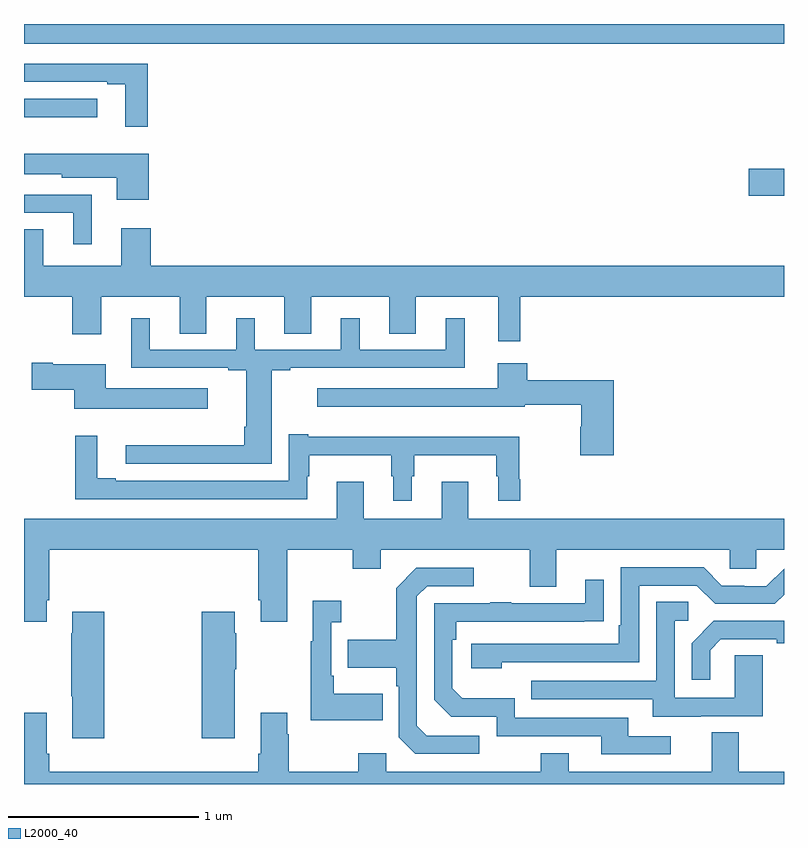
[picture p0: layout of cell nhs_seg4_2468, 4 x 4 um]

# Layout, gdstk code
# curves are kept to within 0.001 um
import gdstk
lib = gdstk.Library(unit=1e-6, precision=1e-09)
def R(c, l, rs):  # rectangles x0, y0, x1, y1
    for r in rs: c.add(gdstk.rectangle(r[:2], r[2:], *l))
def P(c, l, *ps):  # polygons
    for p in ps: c.add(gdstk.Polygon(p, *l))
L2000_40 = (2000, 40)

nhs_seg4_2468 = lib.new_cell('nhs_seg4_2468')
R(nhs_seg4_2468, L2000_40, [(242.814,819.997,243,820.139), (239,820.409,239.386,820.506), (239,820.796,243,820.9)])
P(nhs_seg4_2468, L2000_40, [(239.651,820.692),(239,820.692),(239,820.596),(239.438,820.596),(239.438,820.584),(239.534,820.584),(239.534,820.359),(239.651,820.359)],
  [(239.656,820.216),(239,820.216),(239,820.109),(239.199,820.109),(239.199,820.091),(239.489,820.091),(239.489,819.975),(239.656,819.975)],
  [(239.356,820.002),(239,820.002),(239,819.906),(239.258,819.906),(239.258,819.741),(239.356,819.741)],
  [(239.666,819.826),(239.513,819.826),(239.513,819.628),(239.101,819.628),(239.101,819.821),(239,819.821),(239,819.464),(239.255,819.464),(239.255,819.267),(239.407,819.267),(239.407,819.464),(239.819,819.464),(239.819,819.271),(239.959,819.271),(239.959,819.464),(240.371,819.464),(240.371,819.271),(240.511,819.271),(240.511,819.464),(240.923,819.464),(240.923,819.271),(241.063,819.271),(241.063,819.464),(241.496,819.464),(241.496,819.231),(241.613,819.231),(241.613,819.464),(243,819.464),(243,819.628),(239.666,819.628)],
  [(240.304,819.078),(240.4,819.078),(240.4,819.09),(241.319,819.09),(241.319,819.352),(241.22,819.352),(241.22,819.186),(240.766,819.186),(240.766,819.352),(240.668,819.352),(240.668,819.186),(240.214,819.186),(240.214,819.352),(240.116,819.352),(240.116,819.186),(239.662,819.186),(239.662,819.352),(239.564,819.352),(239.564,819.09),(240.074,819.09),(240.074,819.078),(240.17,819.078),(240.17,818.779),(240.158,818.779),(240.158,818.684),(239.535,818.684),(239.535,818.586),(240.304,818.586)],
  [(239.968,818.983),(239.431,818.983),(239.431,819.109),(239.152,819.109),(239.152,819.117),(239.04,819.117),(239.04,818.975),(239.264,818.975),(239.264,818.876),(239.968,818.876)],
  [(242.105,819.025),(241.649,819.025),(241.649,819.115),(241.493,819.115),(241.493,818.982),(240.543,818.982),(240.543,818.885),(241.636,818.885),(241.636,818.896),(241.934,818.896),(241.934,818.781),(241.927,818.781),(241.927,818.631),(242.105,818.631)],
  [(241.042,818.519),(241.054,818.519),(241.054,818.63),(241.485,818.63),(241.485,818.519),(241.496,818.519),(241.496,818.391),(241.613,818.391),(241.613,818.503),(241.606,818.503),(241.606,818.728),(240.496,818.728),(240.496,818.74),(240.393,818.74),(240.393,818.496),(239.482,818.496),(239.482,818.509),(239.386,818.509),(239.386,818.734),(239.269,818.734),(239.269,818.4),(240.49,818.4),(240.49,818.519),(240.502,818.519),(240.502,818.63),(240.933,818.63),(240.933,818.519),(240.944,818.519),(240.944,818.391),(241.042,818.391)],
  [(239.119,817.867),(239.132,817.867),(239.132,818.132),(240.233,818.132),(240.233,817.867),(240.245,817.867),(240.245,817.755),(240.385,817.755),(240.385,818.132),(240.73,818.132),(240.73,818.033),(240.877,818.033),(240.877,818.132),(241.661,818.132),(241.661,817.938),(241.801,817.938),(241.801,818.132),(242.715,818.132),(242.715,818.034),(242.853,818.034),(242.853,818.132),(243,818.132),(243,818.296),(241.339,818.296),(241.339,818.491),(241.199,818.491),(241.199,818.296),(240.787,818.296),(240.787,818.491),(240.647,818.491),(240.647,818.296),(239,818.296),(239,817.755),(239.119,817.755)],
  [(241.514,817.542),(242.238,817.542),(242.238,817.944),(242.541,817.944),(242.637,817.848),(242.952,817.848),(243,817.896),(243,818.034),(242.907,817.941),(242.792,817.941),(242.792,817.944),(242.673,817.944),(242.577,818.04),(242.142,818.04),(242.142,817.735),(242.129,817.735),(242.129,817.638),(241.353,817.638),(241.353,817.508),(241.514,817.508)],
  [(241.396,817.155),(241.119,817.155),(241.068,817.206),(241.068,817.887),(241.122,817.941),(241.366,817.941),(241.366,818.037),(241.065,818.037),(240.96,817.931),(240.96,817.659),(240.703,817.659),(240.703,817.511),(240.96,817.511),(240.96,817.415),(240.972,817.415),(240.972,817.146),(241.059,817.059),(241.396,817.059)],
  [(242.404,817.152),(242.179,817.152),(242.179,817.248),(241.584,817.248),(241.584,817.351),(241.307,817.351),(241.254,817.404),(241.254,817.658),(241.274,817.658),(241.274,817.755),(242.051,817.756),(242.051,817.975),(241.955,817.975),(241.955,817.851),(241.565,817.851),(241.565,817.856),(241.453,817.856),(241.453,817.851),(241.158,817.851),(241.158,817.344),(241.248,817.254),(241.488,817.254),(241.488,817.152),(242.039,817.152),(242.039,817.056),(242.404,817.056)],
  [(240.887,817.375),(240.631,817.375),(240.631,817.471),(240.618,817.471),(240.618,817.751),(240.67,817.751),(240.67,817.864),(240.521,817.864),(240.521,817.651),(240.51,817.651),(240.51,817.235),(240.887,817.235)],
  [(242.563,817.257),(242.887,817.257),(242.887,817.577),(242.742,817.577),(242.742,817.353),(242.424,817.353),(242.424,817.758),(242.497,817.758),(242.497,817.859),(242.328,817.859),(242.328,817.443),(241.669,817.443),(241.669,817.347),(242.309,817.347),(242.309,817.253),(242.563,817.253)],
  [(239.423,817.807),(239.255,817.807),(239.255,817.694),(239.248,817.694),(239.248,817.363),(239.255,817.363),(239.255,817.14),(239.423,817.14)],
  [(240.109,817.505),(240.117,817.505),(240.117,817.694),(240.109,817.694),(240.109,817.807),(239.936,817.807),(239.936,817.14),(240.109,817.14)],
  [(242.611,817.605),(242.668,817.662),(242.963,817.662),(242.963,817.64),(243,817.64),(243,817.758),(242.63,817.758),(242.514,817.642),(242.514,817.449),(242.611,817.449)],
  [(243,816.964),(242.761,816.964),(242.761,817.172),(242.621,817.172),(242.621,816.964),(241.867,816.964),(241.867,817.063),(241.72,817.063),(241.72,816.964),(240.906,816.964),(240.906,817.063),(240.76,817.063),(240.76,816.964),(240.393,816.964),(240.393,817.163),(240.385,817.163),(240.385,817.276),(240.245,817.276),(240.245,817.06),(240.233,817.06),(240.233,816.964),(239.132,816.964),(239.132,817.06),(239.119,817.06),(239.119,817.276),(239,817.276),(239,816.9),(243,816.9)])

lib.write_gds('nhs_seg4_2468.gds')
